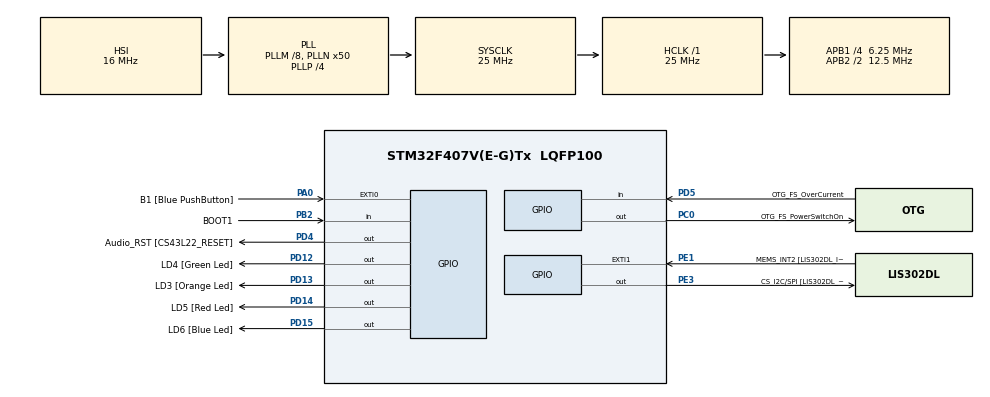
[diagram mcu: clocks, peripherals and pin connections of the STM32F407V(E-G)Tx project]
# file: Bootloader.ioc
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Mcu.Family=STM32F4
Mcu.Name=STM32F407V(E-G)Tx
Mcu.Package=LQFP100
NVIC.PriorityGroup=NVIC_PRIORITYGROUP_0
PA0-WKUP.GPIO_Label=B1 [Blue PushButton]
PA0-WKUP.Signal=GPXTI0
PA10.GPIO_Label=OTG_FS_ID
PA10.GPIO_Mode=GPIO_MODE_AF_PP
PA10.GPIO_PuPd=GPIO_NOPULL
PA10.GPIO_Speed=GPIO_SPEED_FREQ_LOW
PA10.Signal=USB_OTG_FS_ID
PA11.GPIO_Label=OTG_FS_DM
PA11.GPIO_Mode=GPIO_MODE_AF_PP
PA11.GPIO_PuPd=GPIO_NOPULL
PA11.GPIO_Speed=GPIO_SPEED_FREQ_LOW
PA11.Signal=USB_OTG_FS_DM
PA12.GPIO_Label=OTG_FS_DP
PA12.GPIO_Mode=GPIO_MODE_AF_PP
PA12.GPIO_PuPd=GPIO_NOPULL
PA12.GPIO_Speed=GPIO_SPEED_FREQ_LOW
PA12.Signal=USB_OTG_FS_DP
PA13.GPIO_Label=SWDIO
PA13.Signal=SYS_JTMS-SWDIO
PA14.GPIO_Label=SWCLK
PA14.Signal=SYS_JTCK-SWCLK
PA4.GPIO_Label=I2S3_WS [CS43L22_LRCK]
PA4.GPIO_Mode=GPIO_MODE_AF_PP
PA4.GPIO_PuPd=GPIO_NOPULL
PA4.GPIO_Speed=GPIO_SPEED_FREQ_LOW
PA4.Signal=I2S3_WS
PA5.GPIO_Label=SPI1_SCK [LIS302DL_SCL/SPC]
PA5.GPIO_Mode=GPIO_MODE_AF_PP
PA5.GPIO_PuPd=GPIO_NOPULL
PA5.GPIO_Speed=GPIO_SPEED_FREQ_LOW
PA5.Signal=SPI1_SCK
PA6.GPIO_Label=SPI1_MISO [LIS302DL_SDO]
PA6.GPIO_Mode=GPIO_MODE_AF_PP
PA6.GPIO_PuPd=GPIO_NOPULL
PA6.GPIO_Speed=GPIO_SPEED_FREQ_LOW
PA6.Signal=SPI1_MISO
PA7.GPIO_Label=SPI1_MOSI [LIS302DL_SDA/SDI/SDO]
PA7.GPIO_Mode=GPIO_MODE_AF_PP
PA7.GPIO_PuPd=GPIO_NOPULL
PA7.GPIO_Speed=GPIO_SPEED_FREQ_LOW
PA7.Signal=SPI1_MOSI
PA9.GPIO_Label=VBUS_FS
PA9.GPIO_Mode=GPIO_MODE_INPUT
PA9.GPIO_PuPd=GPIO_NOPULL
PA9.Signal=USB_OTG_FS_VBUS
PB10.GPIO_Label=CLK_IN [MP45DT02_CLK]
PB10.GPIO_Mode=GPIO_MODE_AF_PP
PB10.GPIO_PuPd=GPIO_NOPULL
PB10.GPIO_Speed=GPIO_SPEED_FREQ_LOW
PB10.Signal=I2S2_CK
PB2.GPIO_Label=BOOT1
PB2.GPIO_Mode=GPIO_MODE_INPUT
PB2.GPIO_PuPd=GPIO_NOPULL
PB2.Signal=GPIO_Input
PB3.GPIO_Label=SWO
PB3.Signal=SYS_JTDO-SWO
PB6.GPIO_Label=Audio_SCL [CS43L22_SCL]
PB6.GPIO_Mode=GPIO_MODE_AF_OD
PB6.GPIO_PuPd=GPIO_NOPULL
PB6.GPIO_Speed=GPIO_SPEED_FREQ_LOW
PB6.Signal=I2C1_SCL
PB9.GPIO_Label=Audio_SDA [CS43L22_SDA]
PB9.GPIO_Mode=GPIO_MODE_AF_OD
PB9.GPIO_PuPd=GPIO_NOPULL
PB9.GPIO_Speed=GPIO_SPEED_FREQ_LOW
PB9.Signal=I2C1_SDA
PC0.GPIO_Label=OTG_FS_PowerSwitchOn
PC0.GPIO_PuPd=GPIO_NOPULL
PC0.GPIO_Speed=GPIO_SPEED_FREQ_LOW
PC0.PinState=GPIO_PIN_SET
PC0.Signal=GPIO_Output
PC10.GPIO_Label=I2S3_SCK [CS43L22_SCLK]
PC10.GPIO_Mode=GPIO_MODE_AF_PP
PC10.GPIO_PuPd=GPIO_NOPULL
PC10.GPIO_Speed=GPIO_SPEED_FREQ_LOW
PC10.Signal=I2S3_CK
PC12.GPIO_Label=I2S3_SD [CS43L22_SDIN]
PC12.GPIO_Mode=GPIO_MODE_AF_PP
PC12.GPIO_PuPd=GPIO_NOPULL
PC12.GPIO_Speed=GPIO_SPEED_FREQ_LOW
PC12.Signal=I2S3_SD
PC14-OSC32_IN.GPIO_Label=PC14-OSC32_IN
PC14-OSC32_IN.Signal=RCC_OSC32_IN
PC15-OSC32_OUT.GPIO_Label=PC15-OSC32_OUT
PC15-OSC32_OUT.Signal=RCC_OSC32_OUT
PC3.GPIO_Label=PDM_OUT [MP45DT02_DOUT]
PC3.GPIO_Mode=GPIO_MODE_AF_PP
PC3.GPIO_PuPd=GPIO_NOPULL
PC3.GPIO_Speed=GPIO_SPEED_FREQ_LOW
PC3.Signal=I2S2_SD
PC7.GPIO_Label=I2S3_MCK [CS43L22_MCLK]
PC7.GPIO_Mode=GPIO_MODE_AF_PP
PC7.GPIO_PuPd=GPIO_NOPULL
PC7.GPIO_Speed=GPIO_SPEED_FREQ_LOW
PC7.Signal=I2S3_MCK
PD12.GPIO_Label=LD4 [Green Led]
PD12.GPIO_PuPd=GPIO_NOPULL
PD12.GPIO_Speed=GPIO_SPEED_FREQ_LOW
PD12.Signal=GPIO_Output
PD13.GPIO_Label=LD3 [Orange Led]
PD13.GPIO_PuPd=GPIO_NOPULL
PD13.GPIO_Speed=GPIO_SPEED_FREQ_LOW
PD13.Signal=GPIO_Output
PD14.GPIO_Label=LD5 [Red Led]
PD14.GPIO_PuPd=GPIO_NOPULL
PD14.GPIO_Speed=GPIO_SPEED_FREQ_LOW
PD14.Signal=GPIO_Output
PD15.GPIO_Label=LD6 [Blue Led]
PD15.GPIO_PuPd=GPIO_NOPULL
PD15.GPIO_Speed=GPIO_SPEED_FREQ_LOW
PD15.Signal=GPIO_Output
PD4.GPIO_Label=Audio_RST [CS43L22_RESET]
PD4.GPIO_PuPd=GPIO_NOPULL
PD4.GPIO_Speed=GPIO_SPEED_FREQ_LOW
PD4.Signal=GPIO_Output
PD5.GPIO_Label=OTG_FS_OverCurrent
PD5.GPIO_Mode=GPIO_MODE_INPUT
PD5.GPIO_PuPd=GPIO_NOPULL
PD5.Signal=GPIO_Input
PE1.GPIO_Label=MEMS_INT2 [LIS302DL_INT2]
PE1.GPIO_ModeDefaultEXTI=GPIO_MODE_EVT_RISING
PE1.GPIO_PuPd=GPIO_NOPULL
PE1.Signal=GPXTI1
PE3.GPIO_Label=CS_I2C/SPI [LIS302DL_CS_I2C/SPI]
PE3.GPIO_PuPd=GPIO_NOPULL
PE3.GPIO_Speed=GPIO_SPEED_FREQ_LOW
PE3.Signal=GPIO_Output
PH0-OSC_IN.GPIO_Label=PH0-OSC_IN
PH0-OSC_IN.Signal=RCC_OSC_IN
PH1-OSC_OUT.GPIO_Label=PH1-OSC_OUT
PH1-OSC_OUT.Signal=RCC_OSC_OUT
ProjectManager.HeapSize=0x200
ProjectManager.StackSize=0x400
ProjectManager.TargetToolchain=STM32CubeIDE
RCC.48MHZClocksFreq_Value=14285714.285714285
RCC.AHBFreq_Value=25000000
RCC.APB1CLKDivider=RCC_HCLK_DIV4
RCC.APB1Freq_Value=6250000
RCC.APB1TimFreq_Value=12500000
RCC.APB2CLKDivider=RCC_HCLK_DIV2
RCC.APB2Freq_Value=12500000
RCC.APB2TimFreq_Value=25000000
RCC.CortexFreq_Value=25000000
RCC.HCLKFreq_Value=25000000
RCC.HSE_VALUE=8000000
RCC.HSI_VALUE=16000000
RCC.LSE_VALUE=32768
RCC.PLLM=8
RCC.PLLN=50
RCC.PLLP=RCC_PLLP_DIV4
RCC.PLLQ=7
RCC.SYSCLKFreq_VALUE=25000000
RCC.SYSCLKSource=RCC_SYSCLKSOURCE_PLLCLK
RCC.VCOOutputFreq_Value=100000000
VP_CRC_VS_CRC.Mode=CRC_Activate
board=STM32F407G-DISC1

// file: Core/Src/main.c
/* USER CODE BEGIN Header */
/**
  ******************************************************************************
  * @file           : main_bootloader.c
  * @brief          : Main program body
  ******************************************************************************
  * @attention
  *
  * Copyright (c) 2026 STMicroelectronics.
  * All rights reserved.
  *
  * This software is licensed under terms that can be found in the LICENSE file
  * in the root directory of this software component.
  * If no LICENSE file comes with this software, it is provided AS-IS.
  *
  ******************************************************************************
  */
/* USER CODE END Header */
#include "main.h"
#include <stdio.h>

/* USER CODE BEGIN PD */
#define FLASH_SECTOR2_BASE_ADDRESS  0x08008000  // Sector 2 start
/* USER CODE END PD */

CRC_HandleTypeDef hcrc;

void SystemClock_Config(void);
static void MX_GPIO_Init(void);
static void MX_CRC_Init(void);

/* USER CODE BEGIN 0 */
void jump_to_application(){
	uint32_t app_sp = *(volatile uint32_t*)FLASH_SECTOR2_BASE_ADDRESS;       // Initial stack pointer
	uint32_t app_reset_handler = *(volatile uint32_t*)(FLASH_SECTOR2_BASE_ADDRESS + 4); // Reset_Handler

	if ((app_sp & 0x2FFD0000) != 0x20000000) {
		// Stack pointer must be in SRAM region (0x2000_0000 - 0x2001_FFFF)
		printf("Stack Pointer is outside SRAM Region");
	    return;
	}

	if ((app_reset_handler < 0x08008000) || (app_reset_handler > 0x080FFFFF)) {
		// Reset_Handler must point inside Flash (Sector 2 onwards) Otherwise, stay in bootloader
		printf("Reset Handler is not inside Flash sector");
	    return;
	}

	// Set vector table to application base
	SCB->VTOR = FLASH_SECTOR2_BASE_ADDRESS;

	// Set MSP to application's stack pointer
	__set_MSP(app_sp);

	// Jump to application's Reset_Handler
	void (*reset_handler)(void) = (void*)app_reset_handler; //app_reset_handler is address of main reset handler
	reset_handler();
}
/* USER CODE END 0 */

int main_bootloader(void)
{

  /* USER CODE BEGIN 1 */
  int timer = 0;
  /* USER CODE END 1 */

  /* MCU Configuration--------------------------------------------------------*/

  /* Reset of all peripherals, Initializes the Flash interface and the Systick. */
  HAL_Init();

  /* Configure the system clock */
  SystemClock_Config();

  /* Initialize all configured peripherals */
  MX_GPIO_Init();
  MX_CRC_Init();
  /* USER CODE BEGIN 2 */
  while(timer<25){
  		HAL_GPIO_TogglePin(GPIOD, LD4_Pin);
  	  	HAL_Delay(200);
  	  	timer++;
  }

  // After blinking, hand over control to main application
  jump_to_application();

  /* USER CODE END 2 */

  /* Infinite loop */
  while (1)
  {
       //Should never reach here if jump is successful
  }
}

void SystemClock_Config(void)
{
  RCC_OscInitTypeDef RCC_OscInitStruct = {0};
  RCC_ClkInitTypeDef RCC_ClkInitStruct = {0};

  /** Configure the main internal regulator output voltage
  */
  __HAL_RCC_PWR_CLK_ENABLE();
  __HAL_PWR_VOLTAGESCALING_CONFIG(PWR_REGULATOR_VOLTAGE_SCALE1);

  /** Initializes the RCC Oscillators according to the specified parameters
  * in the RCC_OscInitTypeDef structure.
  */
  RCC_OscInitStruct.OscillatorType = RCC_OSCILLATORTYPE_HSI;
  RCC_OscInitStruct.HSIState = RCC_HSI_ON;
  RCC_OscInitStruct.HSICalibrationValue = RCC_HSICALIBRATION_DEFAULT;
  RCC_OscInitStruct.PLL.PLLState = RCC_PLL_ON;
  RCC_OscInitStruct.PLL.PLLSource = RCC_PLLSOURCE_HSI;
  RCC_OscInitStruct.PLL.PLLM = 8;
  RCC_OscInitStruct.PLL.PLLN = 50;
  RCC_OscInitStruct.PLL.PLLP = RCC_PLLP_DIV4;
  RCC_OscInitStruct.PLL.PLLQ = 7;
  if (HAL_RCC_OscConfig(&RCC_OscInitStruct) != HAL_OK)
  {
    Error_Handler();
  }

  /** Initializes the CPU, AHB and APB buses clocks
  */
  RCC_ClkInitStruct.ClockType = RCC_CLOCKTYPE_HCLK|RCC_CLOCKTYPE_SYSCLK
                              |RCC_CLOCKTYPE_PCLK1|RCC_CLOCKTYPE_PCLK2;
  RCC_ClkInitStruct.SYSCLKSource = RCC_SYSCLKSOURCE_PLLCLK;
  RCC_ClkInitStruct.AHBCLKDivider = RCC_SYSCLK_DIV1;
  RCC_ClkInitStruct.APB1CLKDivider = RCC_HCLK_DIV4;
  RCC_ClkInitStruct.APB2CLKDivider = RCC_HCLK_DIV2;

  if (HAL_RCC_ClockConfig(&RCC_ClkInitStruct, FLASH_LATENCY_0) != HAL_OK)
  {
    Error_Handler();
  }
}

static void MX_CRC_Init(void)
{

  hcrc.Instance = CRC;
  if (HAL_CRC_Init(&hcrc) != HAL_OK)
  {
    Error_Handler();
  }

}

static void MX_GPIO_Init(void)
{
  GPIO_InitTypeDef GPIO_InitStruct = {0};

  /* GPIO Ports Clock Enable */
  __HAL_RCC_GPIOE_CLK_ENABLE();
  __HAL_RCC_GPIOC_CLK_ENABLE();
  __HAL_RCC_GPIOH_CLK_ENABLE();
  __HAL_RCC_GPIOA_CLK_ENABLE();
  __HAL_RCC_GPIOB_CLK_ENABLE();
  __HAL_RCC_GPIOD_CLK_ENABLE();

  /*Configure GPIO pin Output Level */
  HAL_GPIO_WritePin(CS_I2C_SPI_GPIO_Port, CS_I2C_SPI_Pin, GPIO_PIN_RESET);

  /*Configure GPIO pin Output Level */
  HAL_GPIO_WritePin(OTG_FS_PowerSwitchOn_GPIO_Port, OTG_FS_PowerSwitchOn_Pin, GPIO_PIN_SET);

  /*Configure GPIO pin Output Level */
  HAL_GPIO_WritePin(GPIOD, LD4_Pin|LD3_Pin|LD5_Pin|LD6_Pin
                          |Audio_RST_Pin, GPIO_PIN_RESET);

  /*Configure GPIO pin : CS_I2C_SPI_Pin */
  GPIO_InitStruct.Pin = CS_I2C_SPI_Pin;
  GPIO_InitStruct.Mode = GPIO_MODE_OUTPUT_PP;
  GPIO_InitStruct.Pull = GPIO_NOPULL;
  GPIO_InitStruct.Speed = GPIO_SPEED_FREQ_LOW;
  HAL_GPIO_Init(CS_I2C_SPI_GPIO_Port, &GPIO_InitStruct);

  /*Configure GPIO pin : OTG_FS_PowerSwitchOn_Pin */
  GPIO_InitStruct.Pin = OTG_FS_PowerSwitchOn_Pin;
  GPIO_InitStruct.Mode = GPIO_MODE_OUTPUT_PP;
  GPIO_InitStruct.Pull = GPIO_NOPULL;
  GPIO_InitStruct.Speed = GPIO_SPEED_FREQ_LOW;
  HAL_GPIO_Init(OTG_FS_PowerSwitchOn_GPIO_Port, &GPIO_InitStruct);

  /*Configure GPIO pin : PDM_OUT_Pin */
  GPIO_InitStruct.Pin = PDM_OUT_Pin;
  GPIO_InitStruct.Mode = GPIO_MODE_AF_PP;
  GPIO_InitStruct.Pull = GPIO_NOPULL;
  GPIO_InitStruct.Speed = GPIO_SPEED_FREQ_LOW;
  GPIO_InitStruct.Alternate = GPIO_AF5_SPI2;
  HAL_GPIO_Init(PDM_OUT_GPIO_Port, &GPIO_InitStruct);

  /*Configure GPIO pin : B1_Pin */
  GPIO_InitStruct.Pin = B1_Pin;
  GPIO_InitStruct.Mode = GPIO_MODE_IT_RISING;
  GPIO_InitStruct.Pull = GPIO_NOPULL;
  HAL_GPIO_Init(B1_GPIO_Port, &GPIO_InitStruct);

  /*Configure GPIO pin : I2S3_WS_Pin */
  GPIO_InitStruct.Pin = I2S3_WS_Pin;
  GPIO_InitStruct.Mode = GPIO_MODE_AF_PP;
  GPIO_InitStruct.Pull = GPIO_NOPULL;
  GPIO_InitStruct.Speed = GPIO_SPEED_FREQ_LOW;
  GPIO_InitStruct.Alternate = GPIO_AF6_SPI3;
  HAL_GPIO_Init(I2S3_WS_GPIO_Port, &GPIO_InitStruct);

  /*Configure GPIO pins : SPI1_SCK_Pin SPI1_MISO_Pin SPI1_MOSI_Pin */
  GPIO_InitStruct.Pin = SPI1_SCK_Pin|SPI1_MISO_Pin|SPI1_MOSI_Pin;
  GPIO_InitStruct.Mode = GPIO_MODE_AF_PP;
  GPIO_InitStruct.Pull = GPIO_NOPULL;
  GPIO_InitStruct.Speed = GPIO_SPEED_FREQ_LOW;
  GPIO_InitStruct.Alternate = GPIO_AF5_SPI1;
  HAL_GPIO_Init(GPIOA, &GPIO_InitStruct);

  /*Configure GPIO pin : BOOT1_Pin */
  GPIO_InitStruct.Pin = BOOT1_Pin;
  GPIO_InitStruct.Mode = GPIO_MODE_INPUT;
  GPIO_InitStruct.Pull = GPIO_NOPULL;
  HAL_GPIO_Init(BOOT1_GPIO_Port, &GPIO_InitStruct);

  /*Configure GPIO pin : CLK_IN_Pin */
  GPIO_InitStruct.Pin = CLK_IN_Pin;
  GPIO_InitStruct.Mode = GPIO_MODE_AF_PP;
  GPIO_InitStruct.Pull = GPIO_NOPULL;
  GPIO_InitStruct.Speed = GPIO_SPEED_FREQ_LOW;
  GPIO_InitStruct.Alternate = GPIO_AF5_SPI2;
  HAL_GPIO_Init(CLK_IN_GPIO_Port, &GPIO_InitStruct);

  /*Configure GPIO pins : LD4_Pin LD3_Pin LD5_Pin LD6_Pin
                           Audio_RST_Pin */
  GPIO_InitStruct.Pin = LD4_Pin|LD3_Pin|LD5_Pin|LD6_Pin
                          |Audio_RST_Pin;
  GPIO_InitStruct.Mode = GPIO_MODE_OUTPUT_PP;
  GPIO_InitStruct.Pull = GPIO_NOPULL;
  GPIO_InitStruct.Speed = GPIO_SPEED_FREQ_LOW;
  HAL_GPIO_Init(GPIOD, &GPIO_InitStruct);

  /*Configure GPIO pins : I2S3_MCK_Pin I2S3_SCK_Pin I2S3_SD_Pin */
  GPIO_InitStruct.Pin = I2S3_MCK_Pin|I2S3_SCK_Pin|I2S3_SD_Pin;
  GPIO_InitStruct.Mode = GPIO_MODE_AF_PP;
  GPIO_InitStruct.Pull = GPIO_NOPULL;
  GPIO_InitStruct.Speed = GPIO_SPEED_FREQ_LOW;
  GPIO_InitStruct.Alternate = GPIO_AF6_SPI3;
  HAL_GPIO_Init(GPIOC, &GPIO_InitStruct);

  /*Configure GPIO pin : VBUS_FS_Pin */
  GPIO_InitStruct.Pin = VBUS_FS_Pin;
  GPIO_InitStruct.Mode = GPIO_MODE_INPUT;
  GPIO_InitStruct.Pull = GPIO_NOPULL;
  HAL_GPIO_Init(VBUS_FS_GPIO_Port, &GPIO_InitStruct);

  /*Configure GPIO pins : OTG_FS_ID_Pin OTG_FS_DM_Pin OTG_FS_DP_Pin */
  GPIO_InitStruct.Pin = OTG_FS_ID_Pin|OTG_FS_DM_Pin|OTG_FS_DP_Pin;
  GPIO_InitStruct.Mode = GPIO_MODE_AF_PP;
  GPIO_InitStruct.Pull = GPIO_NOPULL;
  GPIO_InitStruct.Speed = GPIO_SPEED_FREQ_LOW;
  GPIO_InitStruct.Alternate = GPIO_AF10_OTG_FS;
  HAL_GPIO_Init(GPIOA, &GPIO_InitStruct);

  /*Configure GPIO pin : OTG_FS_OverCurrent_Pin */
  GPIO_InitStruct.Pin = OTG_FS_OverCurrent_Pin;
  GPIO_InitStruct.Mode = GPIO_MODE_INPUT;
  GPIO_InitStruct.Pull = GPIO_NOPULL;
  HAL_GPIO_Init(OTG_FS_OverCurrent_GPIO_Port, &GPIO_InitStruct);

  /*Configure GPIO pins : Audio_SCL_Pin Audio_SDA_Pin */
  GPIO_InitStruct.Pin = Audio_SCL_Pin|Audio_SDA_Pin;
  GPIO_InitStruct.Mode = GPIO_MODE_AF_OD;
  GPIO_InitStruct.Pull = GPIO_NOPULL;
  GPIO_InitStruct.Speed = GPIO_SPEED_FREQ_LOW;
  GPIO_InitStruct.Alternate = GPIO_AF4_I2C1;
  HAL_GPIO_Init(GPIOB, &GPIO_InitStruct);

  /*Configure GPIO pin : MEMS_INT2_Pin */
  GPIO_InitStruct.Pin = MEMS_INT2_Pin;
  GPIO_InitStruct.Mode = GPIO_MODE_EVT_RISING;
  GPIO_InitStruct.Pull = GPIO_NOPULL;
  HAL_GPIO_Init(MEMS_INT2_GPIO_Port, &GPIO_InitStruct);

}

void Error_Handler(void)
{
  __disable_irq();
  while (1)
  {
  }
}
